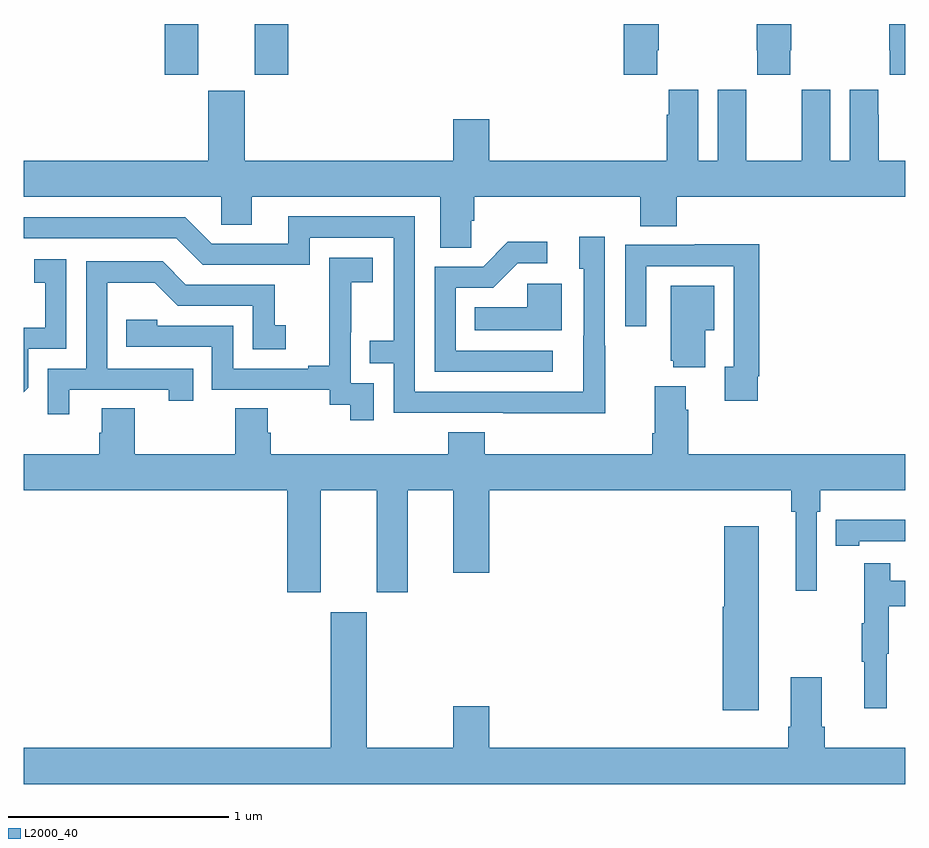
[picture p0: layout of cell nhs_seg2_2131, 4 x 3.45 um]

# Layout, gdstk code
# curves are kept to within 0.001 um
import gdstk
lib = gdstk.Library(unit=1e-6, precision=1e-09)
def R(c, l, rs):  # rectangles x0, y0, x1, y1
    for r in rs: c.add(gdstk.rectangle(r[:2], r[2:], *l))
def P(c, l, *ps):  # polygons
    for p in ps: c.add(gdstk.Polygon(p, *l))
L2000_40 = (2000, 40)

nhs_seg2_2131 = lib.new_cell('nhs_seg2_2131')
R(nhs_seg2_2131, L2000_40, [(223.64,601.569,223.792,601.8), (224.048,601.569,224.201,601.8)])
P(nhs_seg2_2131, L2000_40, [(226.479,601.681),(226.482,601.681),(226.482,601.8),(226.327,601.8),(226.327,601.681),(226.329,601.681),(226.329,601.569),(226.479,601.569)],
  [(227,601.8),(226.927,601.8),(226.927,601.681),(226.929,601.681),(226.929,601.569),(227,601.569)],
  [(225.875,601.681),(225.882,601.681),(225.882,601.8),(225.722,601.8),(225.722,601.569),(225.875,601.569)],
  [(225.03,600.907),(225.044,600.907),(225.044,601.016),(225.797,601.016),(225.797,600.883),(225.962,600.883),(225.962,601.016),(227,601.016),(227,601.18),(226.879,601.18),(226.879,601.388),(226.878,601.388),(226.878,601.501),(226.748,601.501),(226.748,601.18),(226.66,601.18),(226.66,601.501),(226.53,601.501),(226.53,601.388),(226.529,601.388),(226.529,601.18),(226.279,601.18),(226.279,601.388),(226.278,601.388),(226.278,601.501),(226.148,601.501),(226.148,601.18),(226.06,601.18),(226.06,601.501),(225.926,601.501),(225.926,601.388),(225.917,601.388),(225.917,601.18),(225.112,601.18),(225.112,601.369),(224.948,601.369),(224.948,601.18),(224.002,601.18),(224.002,601.497),(223.838,601.497),(223.838,601.18),(223,601.18),(223,601.016),(223.896,601.016),(223.896,600.889),(224.035,600.889),(224.035,601.016),(224.891,601.016),(224.891,600.784),(225.03,600.784)],
  [(225.639,600.341),(225.636,600.341),(225.636,600.835),(225.521,600.835),(225.521,600.69),(225.54,600.69),(225.539,600.132),(224.775,600.132),(224.775,600.927),(224.201,600.927),(224.201,600.804),(223.854,600.804),(223.734,600.924),(223,600.924),(223,600.828),(223.692,600.828),(223.812,600.708),(224.298,600.708),(224.298,600.831),(224.679,600.831),(224.679,600.362),(224.569,600.362),(224.569,600.261),(224.679,600.261),(224.679,600.036),(225.639,600.035)],
  [(225.4,600.318),(224.961,600.318),(224.961,600.603),(225.13,600.603),(225.241,600.714),(225.376,600.714),(225.376,600.812),(225.197,600.812),(225.084,600.699),(224.865,600.699),(224.865,600.222),(225.4,600.222)],
  [(226.33,600.202),(226.337,600.202),(226.337,600.8),(226.045,600.8),(226.045,600.798),(225.729,600.798),(225.729,600.429),(225.825,600.429),(225.825,600.702),(226.221,600.702),(226.221,600.246),(226.181,600.246),(226.181,600.09),(226.33,600.09)],
  [(224.589,600.171),(224.484,600.171),(224.484,600.401),(224.486,600.401),(224.486,600.629),(224.584,600.629),(224.584,600.739),(224.386,600.739),(224.386,600.533),(224.387,600.533),(224.387,600.25),(224.291,600.25),(224.291,600.237),(223.95,600.237),(223.95,600.432),(223.605,600.432),(223.605,600.459),(223.465,600.459),(223.465,600.336),(223.854,600.336),(223.854,600.141),(224.388,600.141),(224.388,600.073),(224.481,600.073),(224.481,600.003),(224.589,600.003)],
  [(223.02,600.15),(223.02,600.327),(223.194,600.327),(223.194,600.733),(223.048,600.733),(223.048,600.627),(223.097,600.627),(223.097,600.423),(223,600.423),(223,600.13)],
  [(223.207,600.141),(223.658,600.141),(223.658,600.09),(223.769,600.09),(223.769,600.237),(223.38,600.237),(223.38,600.626),(223.594,600.626),(223.698,600.522),(224.04,600.522),(224.04,600.324),(224.188,600.324),(224.188,600.433),(224.139,600.433),(224.139,600.618),(223.735,600.618),(223.63,600.723),(223.284,600.723),(223.284,600.237),(223.11,600.237),(223.11,600.03),(223.207,600.03)],
  [(225.442,600.622),(225.285,600.622),(225.285,600.514),(225.046,600.514),(225.046,600.41),(225.442,600.41)],
  [(226.093,600.41),(226.132,600.41),(226.132,600.613),(225.935,600.613),(225.935,600.273),(225.947,600.273),(225.947,600.242),(226.093,600.242)],
  [(225.112,599.684),(226.483,599.684),(226.483,599.588),(226.502,599.588),(226.502,599.229),(226.599,599.229),(226.599,599.588),(226.613,599.588),(226.613,599.684),(227,599.684),(227,599.848),(226.016,599.848),(226.016,600.05),(226.003,600.05),(226.003,600.157),(225.863,600.157),(225.863,599.944),(225.851,599.944),(225.851,599.848),(225.092,599.848),(225.092,599.947),(224.927,599.947),(224.927,599.848),(224.12,599.848),(224.12,599.946),(224.107,599.946),(224.107,600.056),(223.96,600.056),(223.96,599.848),(223.503,599.848),(223.503,600.056),(223.355,600.056),(223.355,599.946),(223.343,599.946),(223.343,599.848),(223,599.848),(223,599.684),(224.195,599.684),(224.195,599.223),(224.347,599.223),(224.347,599.684),(224.603,599.684),(224.603,599.223),(224.743,599.223),(224.743,599.684),(224.948,599.684),(224.948,599.31),(225.112,599.31)],
  [(226.792,599.454),(227,599.454),(227,599.551),(226.792,599.551),(226.792,599.55),(226.684,599.55),(226.684,599.434),(226.792,599.434)],
  [(226.336,599.521),(226.178,599.521),(226.178,599.157),(226.172,599.157),(226.172,598.686),(226.336,598.686)],
  [(226.916,598.944),(226.924,598.944),(226.924,599.158),(227,599.158),(227,599.274),(226.931,599.274),(226.931,599.353),(226.814,599.353),(226.814,599.081),(226.803,599.081),(226.803,598.907),(226.814,598.907),(226.814,598.695),(226.916,598.695)],
  [(227,598.516),(226.634,598.516),(226.634,598.612),(226.621,598.612),(226.621,598.837),(226.481,598.837),(226.481,598.612),(226.469,598.612),(226.469,598.516),(225.112,598.516),(225.112,598.705),(224.948,598.705),(224.948,598.516),(224.557,598.516),(224.557,599.131),(224.393,599.131),(224.393,598.516),(223,598.516),(223,598.352),(227,598.352)])

lib.write_gds('nhs_seg2_2131.gds')
